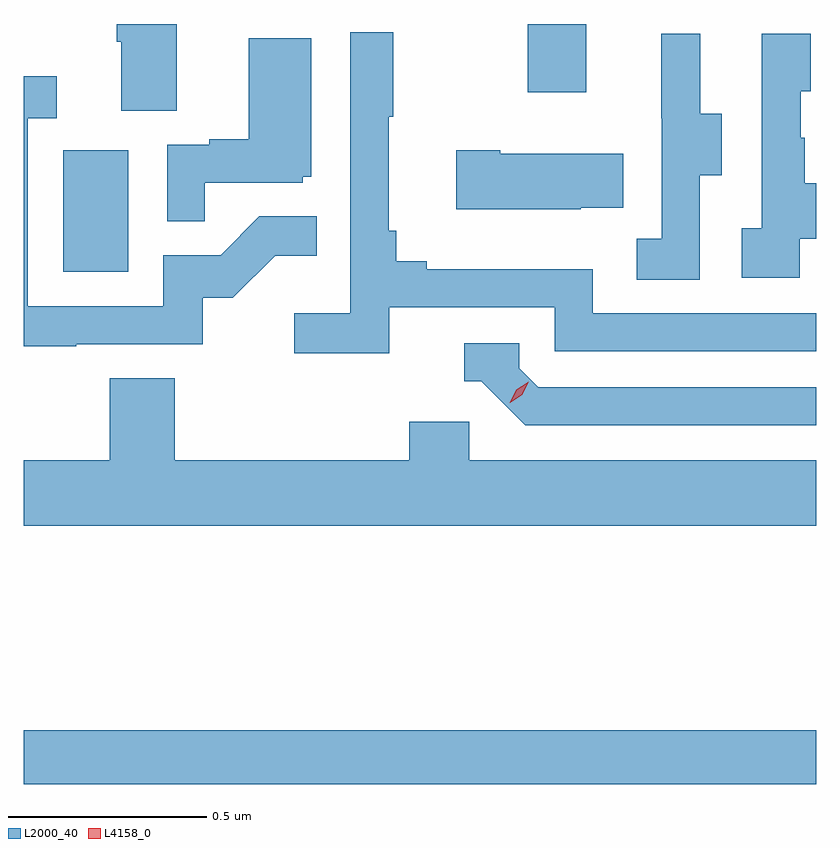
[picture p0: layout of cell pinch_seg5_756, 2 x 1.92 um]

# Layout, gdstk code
import gdstk
lib = gdstk.Library(unit=1e-6, precision=1e-09)
def R(c, l, rs):  # rectangles x0, y0, x1, y1
    for r in rs: c.add(gdstk.rectangle(r[:2], r[2:], *l))
def P(c, l, *ps):  # polygons
    for p in ps: c.add(gdstk.Polygon(p, *l))
L2000_40 = (2000, 40)
L4158_0 = (4158, 0)

pinch_seg5_756 = lib.new_cell('pinch_seg5_756')
R(pinch_seg5_756, L2000_40, [(863.854,902.728,865.854,902.864), (863.954,904.02,864.118,904.327), (865.126,904.473,865.273,904.645)])
P(pinch_seg5_756, L2000_40, [(864.241,904.645),(864.089,904.645),(864.089,904.6),(864.101,904.6),(864.101,904.426),(864.241,904.426)],
  [(864.776,903.93),(865.194,903.93),(865.194,903.819),(865.854,903.819),(865.854,903.915),(865.29,903.915),(865.29,904.027),(864.871,904.027),(864.871,904.046),(864.794,904.046),(864.794,904.123),(864.775,904.123),(864.775,904.411),(864.787,904.411),(864.787,904.624),(864.678,904.624),(864.678,903.916),(864.537,903.916),(864.537,903.814),(864.776,903.814)],
  [(865.56,904.264),(865.615,904.264),(865.615,904.419),(865.561,904.419),(865.561,904.621),(865.463,904.621),(865.463,904.407),(865.464,904.407),(865.464,904.103),(865.401,904.103),(865.401,904),(865.56,904)],
  [(865.812,904.103),(865.854,904.103),(865.854,904.243),(865.825,904.243),(865.825,904.358),(865.815,904.358),(865.815,904.476),(865.84,904.476),(865.84,904.621),(865.716,904.621),(865.716,904.13),(865.665,904.13),(865.665,904.005),(865.812,904.005)],
  [(864.311,904.245),(864.558,904.245),(864.558,904.26),(864.58,904.26),(864.58,904.609),(864.422,904.609),(864.422,904.354),(864.323,904.354),(864.323,904.341),(864.216,904.341),(864.216,904.147),(864.311,904.147)],
  [(863.987,903.837),(864.306,903.837),(864.306,903.954),(864.382,903.954),(864.489,904.061),(864.593,904.061),(864.593,904.16),(864.449,904.16),(864.351,904.062),(864.207,904.062),(864.207,903.933),(863.865,903.933),(863.865,904.407),(863.938,904.407),(863.938,904.513),(863.854,904.513),(863.854,903.832),(863.987,903.832)],
  [(865.259,904.181),(865.367,904.181),(865.367,904.318),(865.057,904.318),(865.057,904.326),(864.945,904.326),(864.945,904.178),(865.259,904.178)],
  [(865.854,903.729),(865.152,903.729),(865.104,903.777),(865.104,903.84),(864.965,903.84),(864.965,903.744),(865.008,903.744),(865.119,903.633),(865.854,903.633)],
  [(865.854,903.544),(864.978,903.544),(864.978,903.642),(864.827,903.642),(864.827,903.544),(864.236,903.544),(864.236,903.752),(864.071,903.752),(864.071,903.544),(863.854,903.544),(863.854,903.38),(865.854,903.38)])
P(pinch_seg5_756, L4158_0, [(865.081,903.69),(865.081,903.69),(865.097,903.723),(865.128,903.743),(865.128,903.743),(865.128,903.743),(865.112,903.71),(865.082,903.69)])

lib.write_gds('pinch_seg5_756.gds')
